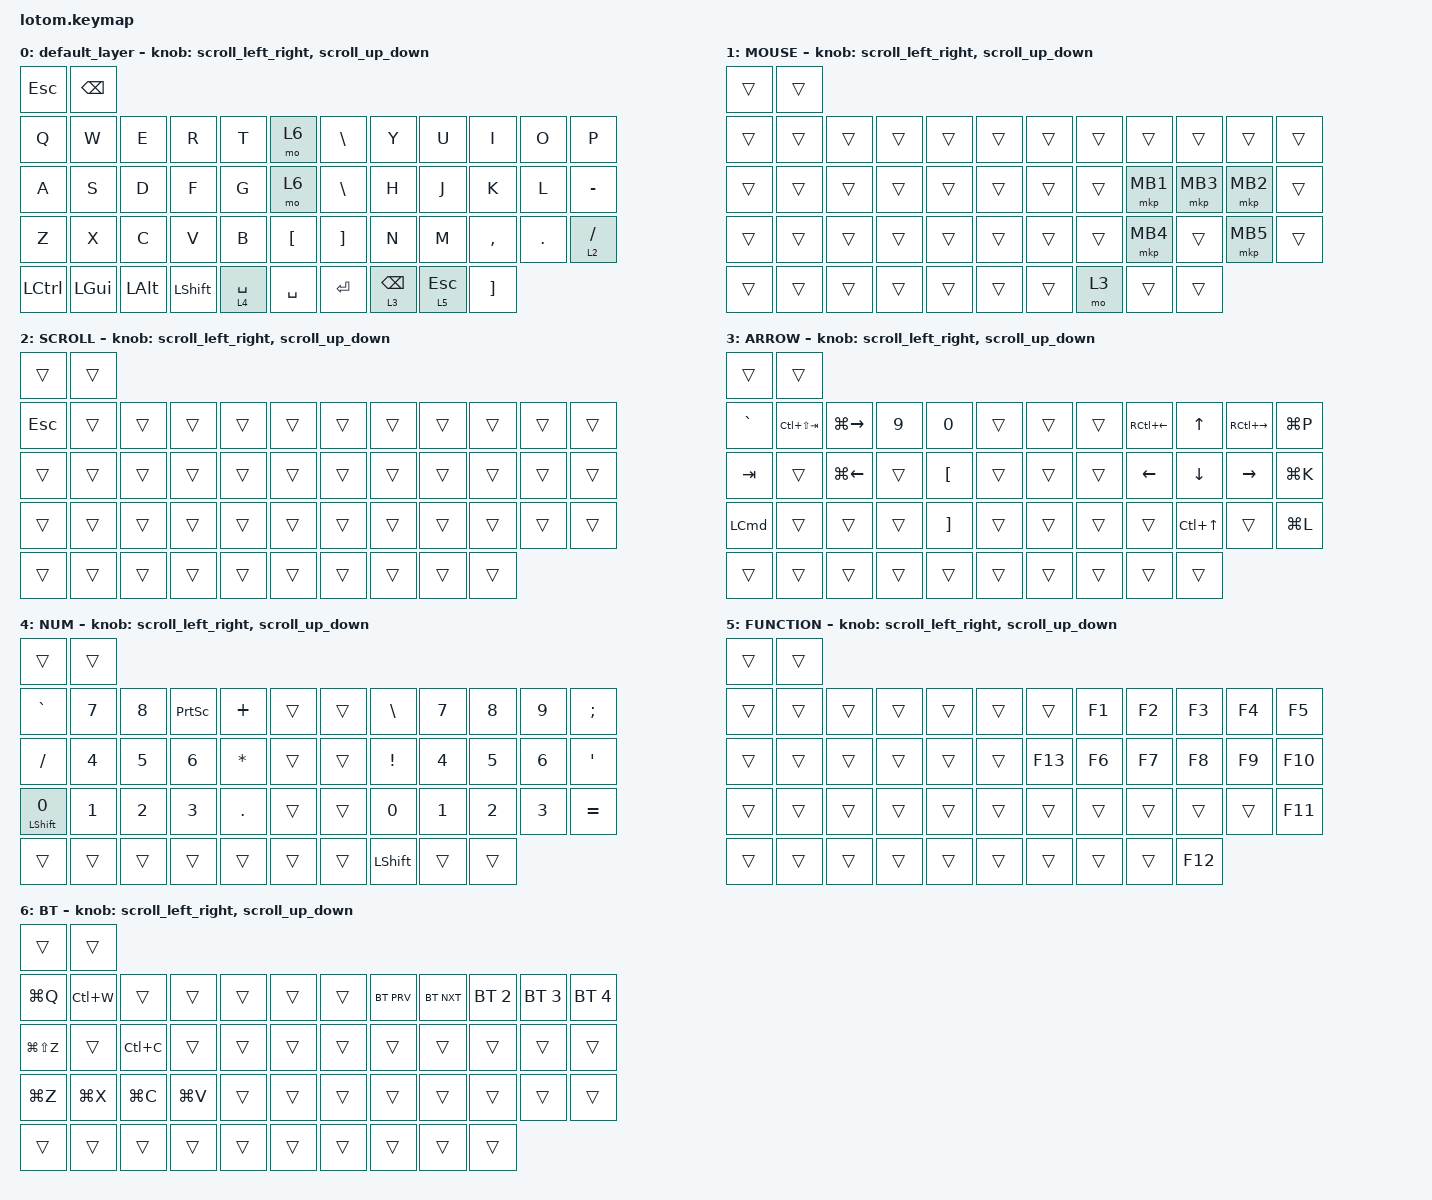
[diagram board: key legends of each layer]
#include <behaviors.dtsi>
#include <dt-bindings/zmk/bt.h>
#include <dt-bindings/zmk/keys.h>
#include <dt-bindings/zmk/pointing.h>

#define ZMK_POINTING_DEFAULT_SCRL_VAL 80

/ {
    behaviors {
        scroll_up_down: behavior_sensor_rotate_mouse_wheel_up_down {
            compatible = "zmk,behavior-sensor-rotate";
            label = "ENCODER_MSC_DOWN_UP";
            #sensor-binding-cells = <0>;
            bindings = <&msc SCRL_DOWN>, <&msc SCRL_UP>;

            tap-ms = <20>;
        };

        scroll_left_right: behavior_sensor_rotate_mw_lr {
            compatible = "zmk,behavior-sensor-rotate";
            label = "ENCODER_MSC_RIGHT_LEFT";
            #sensor-binding-cells = <0>;
            bindings = <&msc SCRL_RIGHT>, <&msc SCRL_LEFT>;

            tap-ms = <20>;
        };

        tab_slide: behavior_sensor_rotate_tab_slide {
            compatible = "zmk,behavior-sensor-rotate";
            label = "ENCODER_TAB_SLIDE";
            #sensor-binding-cells = <0>;
            bindings = <&kp LA(LG(RIGHT_ARROW))>, <&kp LA(LG(LEFT_ARROW))>;

            tap-ms = <20>;
        };
    };

    combos {
        compatible = "zmk,combos";

        combo_kana {
            bindings = <&kp LANGUAGE_1>;
            key-positions = <22 23>;
        };

        combo_eisu {
            bindings = <&kp LANGUAGE_2>;
            key-positions = <17 16>;
        };

        combo_tab {
            bindings = <&kp TAB>;
            key-positions = <2 3>;
        };
    };

    keymap {
        compatible = "zmk,keymap";

        default_layer {
            bindings = <
&kp ESCAPE  &kp BACKSPACE
&kp Q       &kp W          &kp E         &kp R           &kp T        &mo 6             &kp BACKSLASH      &kp Y            &kp U         &kp I              &kp O    &kp P
&kp A       &kp S          &kp D         &kp F           &kp G        &mo 6             &kp BACKSLASH      &kp H            &kp J         &kp K              &kp L    &kp MINUS
&kp Z       &kp X          &kp C         &kp V           &kp B        &kp LEFT_BRACKET  &kp RIGHT_BRACKET  &kp N            &kp M         &kp COMMA          &kp DOT  &lt 2 SLASH
&kp LCTRL   &kp LEFT_GUI   &kp LEFT_ALT  &kp LEFT_SHIFT  &lt 4 SPACE  &kp SPACE         &kp ENTER          &lt 3 BACKSPACE  &lt 5 ESCAPE  &kp RIGHT_BRACKET
            >;

            sensor-bindings = <
                &scroll_left_right
                &scroll_up_down
            >;
        };

        MOUSE {
            bindings = <
&trans  &trans
&trans  &trans  &trans  &trans  &trans  &trans  &trans  &trans  &trans    &trans    &trans    &trans
&trans  &trans  &trans  &trans  &trans  &trans  &trans  &trans  &mkp MB1  &mkp MB3  &mkp MB2  &trans
&trans  &trans  &trans  &trans  &trans  &trans  &trans  &trans  &mkp MB4  &trans    &mkp MB5  &trans
&trans  &trans  &trans  &trans  &trans  &trans  &trans  &mo 3   &trans    &trans
            >;

            sensor-bindings = <
                &scroll_left_right
                &scroll_up_down
            >;
        };

        SCROLL {
            bindings = <
&trans      &trans
&kp ESCAPE  &trans  &trans  &trans  &trans  &trans  &trans  &trans  &trans  &trans  &trans  &trans
&trans      &trans  &trans  &trans  &trans  &trans  &trans  &trans  &trans  &trans  &trans  &trans
&trans      &trans  &trans  &trans  &trans  &trans  &trans  &trans  &trans  &trans  &trans  &trans
&trans      &trans  &trans  &trans  &trans  &trans  &trans  &trans  &trans  &trans
            >;

            sensor-bindings = <
                &scroll_left_right
                &scroll_up_down
            >;
        };

        ARROW {
            bindings = <
&trans     &trans
&kp GRAVE  &kp LC(LS(TAB))  &kp LG(RIGHT)  &kp NUMBER_9  &kp NUMBER_0       &trans  &trans  &trans  &kp RC(LEFT_ARROW)  &kp UP_ARROW      &kp RC(RIGHT_ARROW)  &kp LG(P)
&kp TAB    &trans           &kp LG(LEFT)   &trans        &kp LEFT_BRACKET   &trans  &trans  &trans  &kp LEFT_ARROW      &kp DOWN_ARROW    &kp RIGHT_ARROW      &kp LG(K)
&kp LCMD   &trans           &trans         &trans        &kp RIGHT_BRACKET  &trans  &trans  &trans  &trans              &kp LC(UP_ARROW)  &trans               &kp LG(L)
&trans     &trans           &trans         &trans        &trans             &trans  &trans  &trans  &trans              &trans
            >;

            sensor-bindings = <
                &scroll_left_right
                &scroll_up_down
            >;
        };

        NUM {
            bindings = <
&trans                   &trans
&kp GRAVE                &kp NUMBER_7  &kp NUMBER_8  &kp PSCRN     &kp PLUS      &trans  &trans  &kp BACKSLASH    &kp NUMBER_7  &kp NUMBER_8  &kp NUMBER_9  &kp SEMICOLON
&kp SLASH                &kp NUMBER_4  &kp NUMBER_5  &kp NUMBER_6  &kp ASTERISK  &trans  &trans  &kp EXCLAMATION  &kp NUMBER_4  &kp NUMBER_5  &kp NUMBER_6  &kp SQT
&mt LEFT_SHIFT NUMBER_0  &kp NUMBER_1  &kp NUMBER_2  &kp NUMBER_3  &kp PERIOD    &trans  &trans  &kp NUMBER_0     &kp NUMBER_1  &kp NUMBER_2  &kp NUMBER_3  &kp EQUAL
&trans                   &trans        &trans        &trans        &trans        &trans  &trans  &kp LEFT_SHIFT   &trans        &trans
            >;

            sensor-bindings = <
                &scroll_left_right
                &scroll_up_down
            >;
        };

        FUNCTION {
            bindings = <
&trans  &trans
&trans  &trans  &trans  &trans  &trans  &trans  &trans   &kp F1  &kp F2  &kp F3   &kp F4  &kp F5
&trans  &trans  &trans  &trans  &trans  &trans  &kp F13  &kp F6  &kp F7  &kp F8   &kp F9  &kp F10
&trans  &trans  &trans  &trans  &trans  &trans  &trans   &trans  &trans  &trans   &trans  &kp F11
&trans  &trans  &trans  &trans  &trans  &trans  &trans   &trans  &trans  &kp F12
            >;

            sensor-bindings = <
                &scroll_left_right
                &scroll_up_down
            >;
        };

        BT {
            bindings = <
&trans         &trans
&kp LG(Q)      &kp LC(W)  &trans     &trans     &trans  &trans  &trans  &bt BT_PRV  &bt BT_NXT  &bt BT_SEL 2  &bt BT_SEL 3  &bt BT_SEL 4
&kp LG(LS(Z))  &trans     &kp LC(C)  &trans     &trans  &trans  &trans  &trans      &trans      &trans        &trans        &trans
&kp LG(Z)      &kp LG(X)  &kp LG(C)  &kp LG(V)  &trans  &trans  &trans  &trans      &trans      &trans        &trans        &trans
&trans         &trans     &trans     &trans     &trans  &trans  &trans  &trans      &trans      &trans
            >;

            sensor-bindings = <
                &scroll_left_right
                &scroll_up_down
            >;
        };
    };
};
